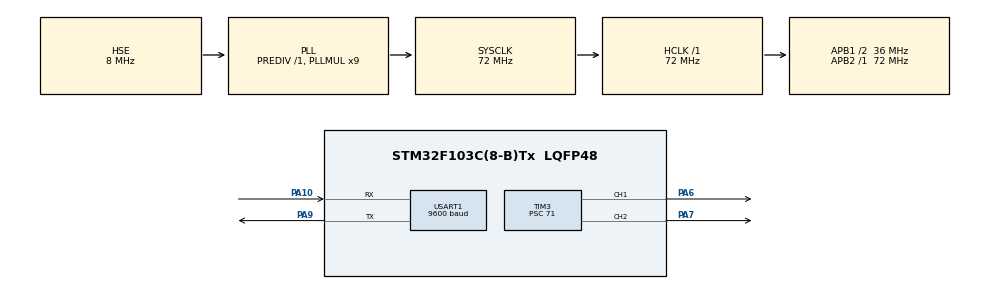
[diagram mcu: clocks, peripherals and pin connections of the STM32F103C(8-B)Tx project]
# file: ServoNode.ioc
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FREERTOS.Tasks01=defaultTask,24,256,StartDefaultTask,Default,NULL,Dynamic,NULL,NULL
Mcu.Family=STM32F1
Mcu.Name=STM32F103C(8-B)Tx
Mcu.Package=LQFP48
NVIC.PriorityGroup=NVIC_PRIORITYGROUP_4
NVIC.TIM4_IRQn=true\:15\:0\:false\:false\:true\:false\:false\:true\:true
NVIC.TimeBase=TIM4_IRQn
NVIC.TimeBaseIP=TIM4
PA10.Mode=Asynchronous
PA10.Signal=USART1_RX
PA13.Mode=Serial_Wire
PA13.Signal=SYS_JTMS-SWDIO
PA14.Mode=Serial_Wire
PA14.Signal=SYS_JTCK-SWCLK
PA6.Signal=S_TIM3_CH1
PA7.Signal=S_TIM3_CH2
PA9.Mode=Asynchronous
PA9.Signal=USART1_TX
PD0-OSC_IN.Mode=HSE-External-Oscillator
PD0-OSC_IN.Signal=RCC_OSC_IN
PD1-OSC_OUT.Mode=HSE-External-Oscillator
PD1-OSC_OUT.Signal=RCC_OSC_OUT
ProjectManager.HeapSize=0x200
ProjectManager.StackSize=0x400
ProjectManager.TargetToolchain=CMake
RCC.AHBFreq_Value=72000000
RCC.APB1CLKDivider=RCC_HCLK_DIV2
RCC.APB1Freq_Value=36000000
RCC.APB1TimFreq_Value=72000000
RCC.APB2Freq_Value=72000000
RCC.APB2TimFreq_Value=72000000
RCC.HCLKFreq_Value=72000000
RCC.PLLMUL=RCC_PLL_MUL9
RCC.PLLSourceVirtual=RCC_PLLSOURCE_HSE
RCC.SYSCLKFreq_VALUE=72000000
RCC.SYSCLKSource=RCC_SYSCLKSOURCE_PLLCLK
RCC.USBFreq_Value=72000000
SH.S_TIM3_CH1.0=TIM3_CH1,PWM Generation1 CH1
SH.S_TIM3_CH2.0=TIM3_CH2,PWM Generation2 CH2
TIM3.Channel-PWM\ Generation1\ CH1=TIM_CHANNEL_1
TIM3.Channel-PWM\ Generation2\ CH2=TIM_CHANNEL_2
TIM3.Period=19999
TIM3.Prescaler=71
TIM3.Pulse-PWM\ Generation1\ CH1=1500
TIM3.Pulse-PWM\ Generation2\ CH2=1500
USART1.BaudRate=9600
USART1.VirtualMode=VM_ASYNC
VP_FREERTOS_VS_CMSIS_V2.Mode=CMSIS_V2
VP_SYS_VS_tim4.Mode=TIM4
board=custom

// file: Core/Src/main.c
/* USER CODE BEGIN Header */
/**
  ******************************************************************************
  * @file           : main.c
  * @brief          : Main program body
  ******************************************************************************
  */
/* USER CODE END Header */
#include "main.h"
#include "cmsis_os.h"

/* USER CODE BEGIN PD */
#define SERVO_MIN_US        500U
#define SERVO_MAX_US        2500U
#define SERVO_CENTER_US     1500U
#define RX_TIMEOUT_MS       500U
/* USER CODE END PD */

TIM_HandleTypeDef htim3;

UART_HandleTypeDef huart1;

/* Definitions for defaultTask */
osThreadId_t defaultTaskHandle;
const osThreadAttr_t defaultTask_attributes = {
  .name = "defaultTask",
  .stack_size = 256 * 4,
  .priority = (osPriority_t) osPriorityNormal,
};

/* USER CODE BEGIN PV */
volatile uint8_t rx_yaw_deg = 90;
volatile uint8_t rx_pitch_deg = 90;
volatile uint8_t rx_mode = 0;
volatile uint8_t rx_ok = 0;
volatile uint32_t rx_good_frames = 0;
volatile uint32_t rx_bad_frames = 0;
/* USER CODE END PV */

void SystemClock_Config(void);
static void MX_GPIO_Init(void);
static void MX_TIM3_Init(void);
static void MX_USART1_UART_Init(void);
void StartDefaultTask(void *argument);

/* USER CODE BEGIN PFP */
static uint16_t Servo_AngleToPulse(uint8_t angle);
static void Servo_SetAngles(uint8_t yaw, uint8_t pitch);
static uint8_t Wireless_ReceiveFrame(uint8_t *yaw, uint8_t *pitch, uint8_t *mode);
/* USER CODE END PFP */

/* USER CODE BEGIN 0 */

static uint16_t Servo_AngleToPulse(uint8_t angle)
{
  if (angle > 180U)
  {
    angle = 180U;
  }

  return (uint16_t)(SERVO_MIN_US +
                    ((uint32_t)angle * (SERVO_MAX_US - SERVO_MIN_US)) / 180U);
}

static void Servo_SetAngles(uint8_t yaw, uint8_t pitch)
{
  __HAL_TIM_SET_COMPARE(&htim3,
                        TIM_CHANNEL_1,
                        Servo_AngleToPulse(yaw));

  __HAL_TIM_SET_COMPARE(&htim3,
                        TIM_CHANNEL_2,
                        Servo_AngleToPulse(pitch));
}

static uint8_t Wireless_ReceiveFrame(uint8_t *yaw,
                                     uint8_t *pitch,
                                     uint8_t *mode)
{
  uint8_t header;
  uint8_t frame[4];

  if (HAL_UART_Receive(&huart1, &header, 1, 20) != HAL_OK)
  {
    return 0;
  }

  if (header != 0xAA)
  {
    return 0;
  }

  if (HAL_UART_Receive(&huart1, frame, 4, 20) != HAL_OK)
  {
    rx_bad_frames++;
    return 0;
  }

  uint8_t checksum = (uint8_t)(0xAA ^ frame[0] ^ frame[1] ^ frame[2]);

  if (checksum != frame[3])
  {
    rx_bad_frames++;
    return 0;
  }

  if ((frame[0] > 180U) ||
      (frame[1] > 180U) ||
      (frame[2] > 1U))
  {
    rx_bad_frames++;
    return 0;
  }

  *yaw = frame[0];
  *pitch = frame[1];
  *mode = frame[2];

  return 1;
}

/* USER CODE END 0 */

int main(void)
{

  HAL_Init();

  SystemClock_Config();

  MX_GPIO_Init();
  MX_TIM3_Init();
  MX_USART1_UART_Init();

  osKernelInitialize();

  defaultTaskHandle = osThreadNew(StartDefaultTask, NULL, &defaultTask_attributes);

  osKernelStart();

  while (1)
  {
  }
}

void SystemClock_Config(void)
{
  RCC_OscInitTypeDef RCC_OscInitStruct = {0};
  RCC_ClkInitTypeDef RCC_ClkInitStruct = {0};

  RCC_OscInitStruct.OscillatorType = RCC_OSCILLATORTYPE_HSE;
  RCC_OscInitStruct.HSEState = RCC_HSE_ON;
  RCC_OscInitStruct.HSEPredivValue = RCC_HSE_PREDIV_DIV1;
  RCC_OscInitStruct.HSIState = RCC_HSI_ON;
  RCC_OscInitStruct.PLL.PLLState = RCC_PLL_ON;
  RCC_OscInitStruct.PLL.PLLSource = RCC_PLLSOURCE_HSE;
  RCC_OscInitStruct.PLL.PLLMUL = RCC_PLL_MUL9;
  if (HAL_RCC_OscConfig(&RCC_OscInitStruct) != HAL_OK)
  {
    Error_Handler();
  }

  RCC_ClkInitStruct.ClockType = RCC_CLOCKTYPE_HCLK|RCC_CLOCKTYPE_SYSCLK
                              |RCC_CLOCKTYPE_PCLK1|RCC_CLOCKTYPE_PCLK2;
  RCC_ClkInitStruct.SYSCLKSource = RCC_SYSCLKSOURCE_PLLCLK;
  RCC_ClkInitStruct.AHBCLKDivider = RCC_SYSCLK_DIV1;
  RCC_ClkInitStruct.APB1CLKDivider = RCC_HCLK_DIV2;
  RCC_ClkInitStruct.APB2CLKDivider = RCC_HCLK_DIV1;

  if (HAL_RCC_ClockConfig(&RCC_ClkInitStruct, FLASH_LATENCY_2) != HAL_OK)
  {
    Error_Handler();
  }
}

static void MX_TIM3_Init(void)
{
  TIM_MasterConfigTypeDef sMasterConfig = {0};
  TIM_OC_InitTypeDef sConfigOC = {0};

  htim3.Instance = TIM3;
  htim3.Init.Prescaler = 71;
  htim3.Init.CounterMode = TIM_COUNTERMODE_UP;
  htim3.Init.Period = 19999;
  htim3.Init.ClockDivision = TIM_CLOCKDIVISION_DIV1;
  htim3.Init.AutoReloadPreload = TIM_AUTORELOAD_PRELOAD_DISABLE;
  if (HAL_TIM_PWM_Init(&htim3) != HAL_OK)
  {
    Error_Handler();
  }

  sMasterConfig.MasterOutputTrigger = TIM_TRGO_RESET;
  sMasterConfig.MasterSlaveMode = TIM_MASTERSLAVEMODE_DISABLE;
  if (HAL_TIMEx_MasterConfigSynchronization(&htim3, &sMasterConfig) != HAL_OK)
  {
    Error_Handler();
  }

  sConfigOC.OCMode = TIM_OCMODE_PWM1;
  sConfigOC.Pulse = 1500;
  sConfigOC.OCPolarity = TIM_OCPOLARITY_HIGH;
  sConfigOC.OCFastMode = TIM_OCFAST_DISABLE;

  if (HAL_TIM_PWM_ConfigChannel(&htim3, &sConfigOC, TIM_CHANNEL_1) != HAL_OK)
  {
    Error_Handler();
  }

  if (HAL_TIM_PWM_ConfigChannel(&htim3, &sConfigOC, TIM_CHANNEL_2) != HAL_OK)
  {
    Error_Handler();
  }

  HAL_TIM_MspPostInit(&htim3);
}

static void MX_USART1_UART_Init(void)
{
  huart1.Instance = USART1;
  huart1.Init.BaudRate = 9600;
  huart1.Init.WordLength = UART_WORDLENGTH_8B;
  huart1.Init.StopBits = UART_STOPBITS_1;
  huart1.Init.Parity = UART_PARITY_NONE;
  huart1.Init.Mode = UART_MODE_TX_RX;
  huart1.Init.HwFlowCtl = UART_HWCONTROL_NONE;
  huart1.Init.OverSampling = UART_OVERSAMPLING_16;

  if (HAL_UART_Init(&huart1) != HAL_OK)
  {
    Error_Handler();
  }
}

static void MX_GPIO_Init(void)
{
  __HAL_RCC_GPIOD_CLK_ENABLE();
  __HAL_RCC_GPIOA_CLK_ENABLE();
}

void StartDefaultTask(void *argument)
{
  /* USER CODE BEGIN 5 */

  HAL_TIM_PWM_Start(&htim3, TIM_CHANNEL_1);
  HAL_TIM_PWM_Start(&htim3, TIM_CHANNEL_2);

  Servo_SetAngles(90, 90);

  uint32_t last_valid_rx = HAL_GetTick();

  for (;;)
  {
    uint8_t yaw;
    uint8_t pitch;
    uint8_t mode;

    if (Wireless_ReceiveFrame(&yaw, &pitch, &mode))
    {
      rx_yaw_deg = yaw;
      rx_pitch_deg = pitch;
      rx_mode = mode;
      rx_ok = 1;
      rx_good_frames++;

      last_valid_rx = HAL_GetTick();

      Servo_SetAngles(rx_yaw_deg, rx_pitch_deg);
    }

    if ((HAL_GetTick() - last_valid_rx) > RX_TIMEOUT_MS)
    {
      rx_ok = 0;
    }

    osDelay(1);
  }

  /* USER CODE END 5 */
}

void HAL_TIM_PeriodElapsedCallback(TIM_HandleTypeDef *htim)
{
  if (htim->Instance == TIM4)
  {
    HAL_IncTick();
  }
}

void Error_Handler(void)
{
  __disable_irq();
  while (1)
  {
  }
}
